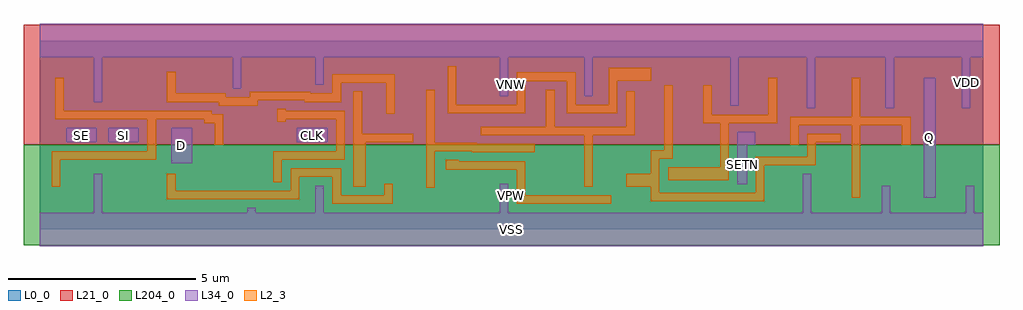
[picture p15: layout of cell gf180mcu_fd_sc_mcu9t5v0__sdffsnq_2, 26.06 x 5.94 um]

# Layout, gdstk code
import gdstk
lib = gdstk.Library(unit=1e-6, precision=1e-09)
def R(c, l, rs):  # rectangles x0, y0, x1, y1
    for r in rs: c.add(gdstk.rectangle(r[:2], r[2:], *l))
L0_0 = (0, 0)
L2_3 = (2, 3)
L21_0 = (21, 0)
L34_0 = (34, 0)
L204_0 = (204, 0)

gf180mcu_fd_sc_mcu9t5v0_ = lib.new_cell('gf180mcu_fd_sc_mcu9t5v0__sdffsnq_2')
R(gf180mcu_fd_sc_mcu9t5v0_, L0_0, [(0,0,25.2,5.04)])
R(gf180mcu_fd_sc_mcu9t5v0_, L2_3, [(7.82,0.68,9.43,0.91), (12.74,0.68,15.265,0.91), (16.32,0.75,19.35,0.98), (6.14,0.8,6.93,0.805), (3.4,0.805,6.93,1.03), (21.68,0.845,21.91,2.78), (7.82,0.91,8.05,1.4), (9.2,0.91,9.43,1.22), (12.74,0.91,12.97,1.595), (16.32,0.98,16.55,1.14), (19.12,0.98,19.35,1.71), (3.4,1.03,6.19,1.035), (6.7,1.03,6.93,1.4), (3.4,1.035,3.63,1.48), (10.32,1.11,10.55,2.085), (0.32,1.14,0.55,1.86), (8.38,1.14,8.71,2.32), (14.54,1.14,14.77,2.515), (15.66,1.14,16.55,1.48), (6.24,1.26,6.47,1.86), (16.78,1.315,18.4,1.655), (6.7,1.4,8.05,1.63), (16.32,1.48,16.55,1.885), (10.845,1.595,12.97,1.825), (18.17,1.655,18.4,2.835), (19.12,1.71,20.73,1.94), (10.845,1.825,11.185,1.855), (0.32,1.86,3.11,2.09), (6.24,1.86,8.15,2.09), (16.32,1.885,16.91,2.115), (20.5,1.94,20.73,2.32), (11.555,2.055,13.225,2.085), (10.32,2.085,13.225,2.285), (2.88,2.09,3.11,2.94), (7.92,2.09,8.15,2.94), (16.68,2.115,16.91,3.845), (4.68,2.265,4.91,2.84), (20.04,2.265,20.27,2.78), (23.025,2.265,23.255,2.78), (10.32,2.285,11.67,2.315), (10.32,2.315,10.55,3.73), (8.38,2.32,9.975,2.55), (20.5,2.32,21.385,2.55), (11.785,2.515,15.89,2.745), (8.38,2.55,8.61,3.685), (13.52,2.745,13.75,3.73), (15.66,2.745,15.89,3.685), (20.04,2.78,23.255,3.01), (17.72,2.835,19.69,3.065), (4.4,2.84,4.91,2.94), (6.34,2.875,6.57,2.94), (0.42,2.94,4.91,3.07), (6.34,2.94,8.15,3.17), (21.68,3.01,21.91,4.05), (17.72,3.065,17.95,3.845), (19.46,3.065,19.69,4.05), (0.42,3.07,4.59,3.17), (9.25,3.09,9.48,3.915), (10.9,3.1,12.97,3.33), (14.08,3.1,15.43,3.33), (0.42,3.17,0.65,4.05), (6.34,3.17,6.57,3.215), (4.78,3.3,5.82,3.4), (10.9,3.33,11.13,4.36), (12.74,3.33,12.97,3.96), (14.08,3.33,14.31,3.96), (15.2,3.33,15.43,3.975), (3.4,3.4,5.82,3.445), (7.08,3.4,8.05,3.445), (3.4,3.445,8.05,3.53), (3.4,3.53,4.97,3.63), (5.605,3.53,8.05,3.63), (3.4,3.63,3.63,4.21), (5.605,3.63,7.22,3.675), (7.82,3.63,8.05,3.915), (7.82,3.915,9.48,4.145), (12.74,3.96,14.31,4.19), (15.2,3.975,16.33,4.315)])
R(gf180mcu_fd_sc_mcu9t5v0_, L21_0, [(-0.43,2.265,25.63,5.47)])
R(gf180mcu_fd_sc_mcu9t5v0_, L34_0, [(0,-0.45,25.2,0.45), (1.44,0.45,1.67,1.48), (5.545,0.45,5.775,0.575), (7.36,0.45,7.59,1.17), (12.28,0.45,12.51,1.22), (20.38,0.45,20.61,1.48), (22.485,0.45,22.715,1.165), (24.725,0.45,24.955,1.165), (23.605,0.845,23.93,4.05), (18.63,1.21,18.89,2.265), (3.51,1.77,4.07,2.71), (18.63,2.265,19.11,2.605), (0.71,2.32,1.53,2.71), (1.83,2.32,2.65,2.71), (6.865,2.32,7.69,2.71), (20.48,3.24,20.71,4.59), (22.585,3.24,22.815,4.59), (24.625,3.24,24.855,4.59), (18.44,3.295,18.67,4.59), (1.44,3.4,1.67,4.59), (12.28,3.56,12.51,4.59), (14.54,3.56,14.77,4.59), (5.16,3.76,5.39,4.59), (7.36,3.86,7.59,4.59), (0,4.59,25.2,5.49)])
R(gf180mcu_fd_sc_mcu9t5v0_, L204_0, [(-0.43,-0.43,25.63,2.265)])
gf180mcu_fd_sc_mcu9t5v0_.add(gdstk.Label('D', (3.79,2.24), layer=34, texttype=10))
gf180mcu_fd_sc_mcu9t5v0_.add(gdstk.Label('SE', (1.12,2.515), layer=34, texttype=10))
gf180mcu_fd_sc_mcu9t5v0_.add(gdstk.Label('SETN', (18.76,1.737), layer=34, texttype=10))
gf180mcu_fd_sc_mcu9t5v0_.add(gdstk.Label('SI', (2.24,2.515), layer=34, texttype=10))
gf180mcu_fd_sc_mcu9t5v0_.add(gdstk.Label('CLK', (7.277,2.515), layer=34, texttype=10))
gf180mcu_fd_sc_mcu9t5v0_.add(gdstk.Label('Q', (23.767,2.447), layer=34, texttype=10))
gf180mcu_fd_sc_mcu9t5v0_.add(gdstk.Label('VDD', (24.74,3.915), layer=34, texttype=10))
gf180mcu_fd_sc_mcu9t5v0_.add(gdstk.Label('VSS', (12.6,0), layer=34, texttype=10))
gf180mcu_fd_sc_mcu9t5v0_.add(gdstk.Label('VNW', (12.6,3.867), layer=3, texttype=1))
gf180mcu_fd_sc_mcu9t5v0_.add(gdstk.Label('VPW', (12.6,0.917), layer=4, texttype=1))

lib.write_gds('gf180mcu_fd_sc_mcu9t5v0__sdffsnq_2.gds')
